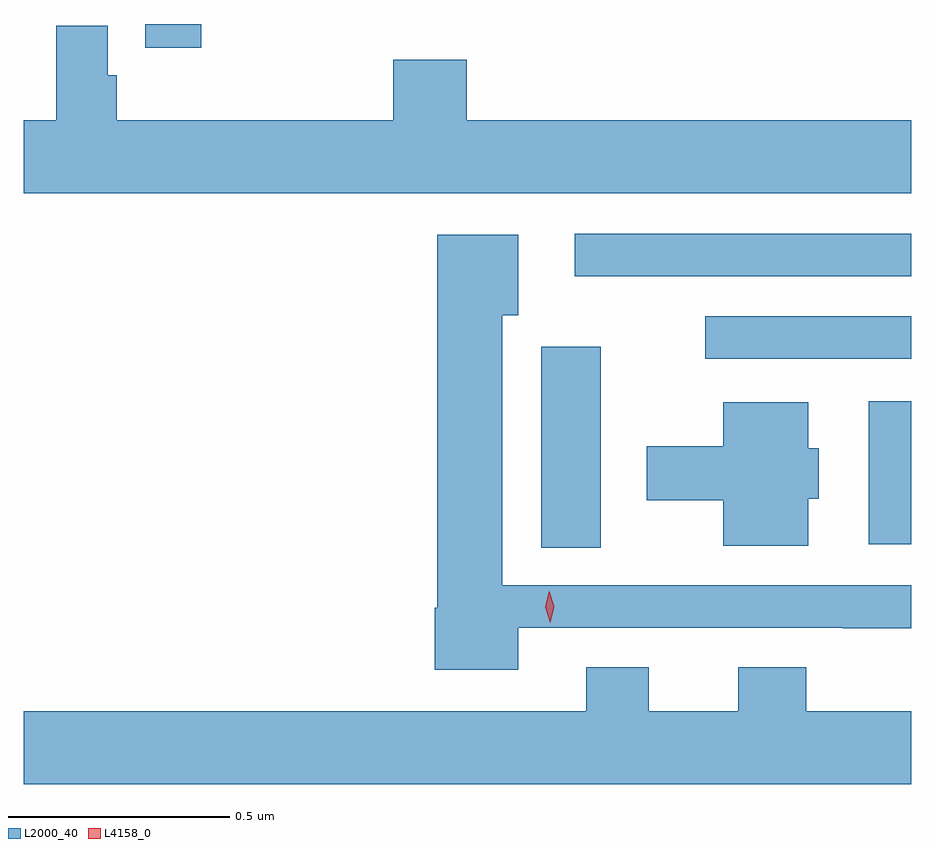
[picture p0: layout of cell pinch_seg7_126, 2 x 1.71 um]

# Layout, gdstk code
import gdstk
lib = gdstk.Library(unit=1e-6, precision=1e-09)
def R(c, l, rs):  # rectangles x0, y0, x1, y1
    for r in rs: c.add(gdstk.rectangle(r[:2], r[2:], *l))
def P(c, l, *ps):  # polygons
    for p in ps: c.add(gdstk.Polygon(p, *l))
L2000_40 = (2000, 40)
L4158_0 = (4158, 0)

pinch_seg7_126 = lib.new_cell('pinch_seg7_126')
R(pinch_seg7_126, L2000_40, [(972.11,1010.473,972.244,1010.926), (972.848,1010.48,972.944,1010.803), (972.48,1010.898,972.944,1010.994), (972.186,1011.084,972.944,1011.18), (971.218,1011.6,971.344,1011.653)])
P(pinch_seg7_126, L2000_40, [(972.944,1011.436),(971.942,1011.436),(971.942,1011.572),(971.777,1011.572),(971.777,1011.436),(971.153,1011.436),(971.153,1011.537),(971.133,1011.537),(971.133,1011.649),(971.017,1011.649),(971.017,1011.436),(970.944,1011.436),(970.944,1011.272),(972.944,1011.272)],
  [(972.058,1010.292),(972.79,1010.292),(972.79,1010.291),(972.944,1010.291),(972.944,1010.388),(972.022,1010.388),(972.022,1010.996),(972.058,1010.996),(972.058,1011.178),(971.876,1011.178),(971.876,1010.337),(971.87,1010.337),(971.87,1010.198),(972.058,1010.198)],
  [(972.712,1010.583),(972.736,1010.583),(972.736,1010.697),(972.712,1010.697),(972.712,1010.8),(972.521,1010.8),(972.521,1010.701),(972.348,1010.701),(972.348,1010.579),(972.521,1010.579),(972.521,1010.477),(972.712,1010.477)],
  [(972.944,1010.104),(972.707,1010.104),(972.707,1010.203),(972.554,1010.203),(972.554,1010.104),(972.352,1010.104),(972.352,1010.203),(972.212,1010.203),(972.212,1010.104),(970.944,1010.104),(970.944,1009.94),(972.944,1009.94)])
P(pinch_seg7_126, L4158_0, [(972.13,1010.303),(972.13,1010.303),(972.119,1010.339),(972.128,1010.375),(972.128,1010.375),(972.128,1010.375),(972.139,1010.339),(972.13,1010.303)])

lib.write_gds('pinch_seg7_126.gds')
